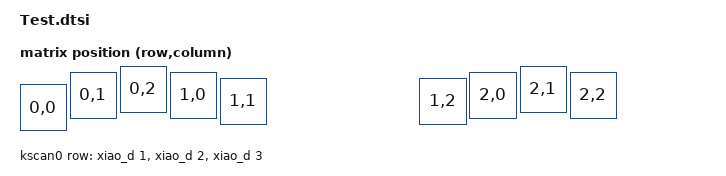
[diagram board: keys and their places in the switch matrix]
#include <dt-bindings/zmk/matrix_transform.h>
#include <physical_layouts.dtsi>

/ {
    chosen {
        zmk,physical-layout = &roba_physical_layout;
    };

    roba_physical_layout: roba_physical_layout {
        compatible = "zmk,physical-layout";
        display-name = "Default";
        transform = <&default_transform>;
        kscan = <&kscan0>;

        keys  //                     w   h    x    y     rot    rx    ry
            = <&key_physical_attrs 100 100    0   37       0     0     0>
            , <&key_physical_attrs 100 100  100   12       0     0     0>
            , <&key_physical_attrs 100 100  200    0       0     0     0>
            , <&key_physical_attrs 100 100  300   12       0     0     0>
            , <&key_physical_attrs 100 100  400   24       0     0     0>
            , <&key_physical_attrs 100 100  800   24       0     0     0>
            , <&key_physical_attrs 100 100  900   12       0     0     0>
            , <&key_physical_attrs 100 100 1000    0       0     0     0>
            , <&key_physical_attrs 100 100 1100   12       0     0     0>
            ;
    };

    default_transform: keymap_transform_0 {
        compatible = "zmk,matrix-transform";
        columns = <3>;
        rows = <3>;
        map = <
            RC(0,0) RC(0,1) RC(0,2)
            RC(1,0) RC(1,1) RC(1,2)
            RC(2,0) RC(2,1) RC(2,2)
        >;
    };

    kscan0: kscan {
        compatible = "zmk,kscan-gpio-matrix";
        label = "KSCAN";
        diode-direction = "col2row";
            row-gpios
                = <&xiao_d 1 (GPIO_ACTIVE_HIGH | GPIO_PULL_DOWN)> 
                , <&xiao_d 2 (GPIO_ACTIVE_HIGH | GPIO_PULL_DOWN)> 
                , <&xiao_d 3 (GPIO_ACTIVE_HIGH | GPIO_PULL_DOWN)> 
                ;
    };

    right_encoder: encoder_right {
        status = "disabled";
    };

    sensors: sensors {
        compatible = "zmk,keymap-sensors";
        sensors = <&right_encoder>;
        triggers-per-rotation = <10>;
    };
};
